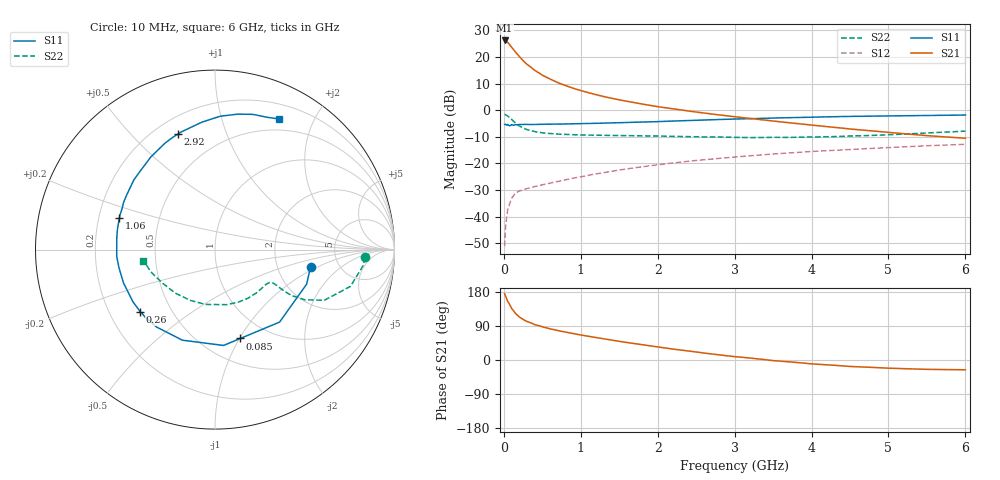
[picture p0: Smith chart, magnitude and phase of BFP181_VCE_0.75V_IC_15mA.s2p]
! Infineon Technologies  Discrete & RF Semiconductors
! BFP181
! VCE = 0.75V,  IC =  15 mA
! Common Emitter S-Parameters:  Jan 2016
# GHz  S  MA  R  50
!  f  S11  S21  S12  S22
! GHz  MAG  ANG  MAG  ANG  MAG  ANG  MAG  ANG
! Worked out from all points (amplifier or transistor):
!   210 points, 10 MHz to 6 GHz, reference 50 ohm
!   highest |S21| = 26.2 dB at 10 MHz (marker M1)
!   |S21| within 3 dB of that: start of sweep to 114.8 MHz
!   unconditionally stable (mu >= 1): start of sweep to 19.4 MHz; 261.2 MHz to end of sweep
!   at 185 MHz: K = 0.78, MSG = 25.6 dB, |S12| = -30.6 dB
!   at 1.52 GHz: K = 2.36, MAG = 6.5 dB, |S12| = -22.4 dB
!   at 6 GHz: K = 2.17, MAG = -5.0 dB, |S12| = -12.8 dB
!   S11 on the Smith chart (normalised r, x): 10 MHz: 3.10, -0.85; 85 MHz: 0.75, -1.01; 260 MHz: 0.33, -0.33; 1.06 GHz: 0.29, +0.15; 2.92 GHz: 0.29, +0.69; 6 GHz: 0.36, +1.55
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0.01  0.5411 -10.3  20.39 174.9  0.0028 79.3  0.838 -3.0
0.02  0.5456 -20.7  20.26 169.9  0.0057 77.8  0.8295 -6.3
0.05  0.5409 -48.3  18.89 154.9  0.0133 70.4  0.7818 -15.2
0.085  0.5148 -74.1  16.24 142.5  0.0193 57.3  0.7028 -21.6
0.1  0.5362 -84.9  15.4 136.0  0.0221 53.9  0.6721 -24.8
0.15  0.5364 -109.8  12.4 122.7  0.0276 46.9  0.5739 -29.2
0.2  0.5405 -127.1  10.19 113.6  0.0303 42.2  0.5077 -30.7
0.24  0.5408 -136.2  8.832 108.4  0.0317 40.3  0.4727 -31.0
0.26  0.5416 -140.2  8.259 105.9  0.0324 39.8  0.4577 -31.0
0.3  0.5418 -147.6  7.285 101.7  0.0337 39.6  0.4329 -30.7
0.4  0.5426 -160.1  5.621 93.5  0.0368 40.2  0.3955 -30.1
0.5  0.5443 -169.2  4.547 87.5  0.0397 40.4  0.3752 -29.9
0.7  0.5483 177.6  3.285 77.7  0.0459 44.1  0.3561 -31.0
1.02  0.5596 163.1  2.29 65.3  0.0568 47.6  0.3424 -35.3
1.06  0.5613 161.5  2.209 63.9  0.0585 47.8  0.3415 -36.0
1.5  0.5817 146.0  1.563 49.2  0.0753 49.0  0.3346 -44.2
2.02  0.6112 130.1  1.154 34.0  0.0953 47.4  0.3273 -56.2
2.92  0.6765 107.6  0.778 10.7  0.1292 41.6  0.3106 -81.0
3.1  0.6869 103.8  0.726 7.1  0.1358 40.2  0.3069 -86.6
4.1  0.7472 86.2  0.508 -11.4  0.1707 31.5  0.3153 -119.3
5.1  0.7838 73.1  0.372 -22.2  0.2018 22.6  0.3508 -149.9
6  0.8112 63.8  0.297 -25.8  0.2291 13.9  0.4048 -171.1
